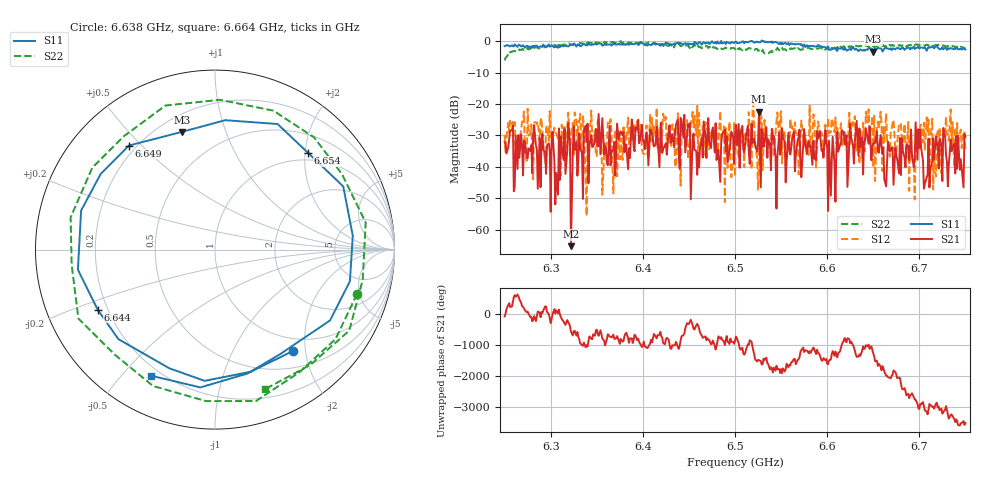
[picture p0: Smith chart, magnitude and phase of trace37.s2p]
# Hz S RI R 50
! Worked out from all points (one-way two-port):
!   401 points, 6.25 GHz to 6.75 GHz, reference 50 ohm
!   highest |S21| = -22.48 dB at 6.526 GHz (marker M1); lowest = -65.3 dB at 6.322 GHz (marker M2)
!   lowest |S11| = -3.3 dB at 6.65 GHz (marker M3), VSWR 5.27, Z = 14.6 + j35.8 ohm
!   |S11| at or under -10 dB: nowhere
!   |S22| runs from -6.1 to 0.0 dB; largest |S21 - S12| = 0.11
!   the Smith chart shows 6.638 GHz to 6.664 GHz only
!   S11 on the Smith chart (normalised r, x): 6.638 GHz: 0.77, -1.77; 6.644 GHz: 0.16, -0.24; 6.649 GHz: 0.17, +0.46; 6.654 GHz: 0.85, +2.07; 6.664 GHz: 0.16, -0.60
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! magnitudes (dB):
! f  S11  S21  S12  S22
! 6.25 GHz  -1.6  -32.1  -29.8  -6.1
! 6.322 GHz  -1.1  -65.3  -30.1  -1.1
! 6.334 GHz  -1.4  -35.7  -36.6  -0.7
! 6.34 GHz  -1.3  -26.3  -27.9  -0.6
! 6.342 GHz  -1.0  -33.3  -32.2  -0.5
! 6.359 GHz  -0.7  -33.4  -32.2  -0.2
! 6.364 GHz  -1.0  -26.9  -26.7  -0.4
! 6.418 GHz  -1.2  -40.1  -27.8  -0.8
! 6.5 GHz  -0.3  -30.6  -43.2  -2.4
! 6.526 GHz  -0.3  -22.5  -35.0  -2.9
! 6.584 GHz  -1.4  -39.4  -30.2  -2.5
! 6.638 GHz  -2.9  -30.6  -37.5  -1.6
! 6.644 GHz  -2.7  -31.1  -25.8  -1.6
! 6.649 GHz  -2.5  -33.6  -23.8  -1.7
! 6.65 GHz  -3.3  -32.6  -40.3  -1.7
! 6.654 GHz  -2.5  -28.6  -27.0  -1.6
! 6.664 GHz  -2.1  -46.2  -22.9  -1.7
! 6.668 GHz  -2.5  -35.0  -36.8  -1.1
! 6.694 GHz  -1.7  -40.1  -38.9  -1.4
! 6.699 GHz  -1.8  -28.0  -28.7  -1.3
! 6.706 GHz  -1.9  -45.4  -34.9  -1.5
! 6.75 GHz  -2.6  -30.5  -34.7  -2.4
